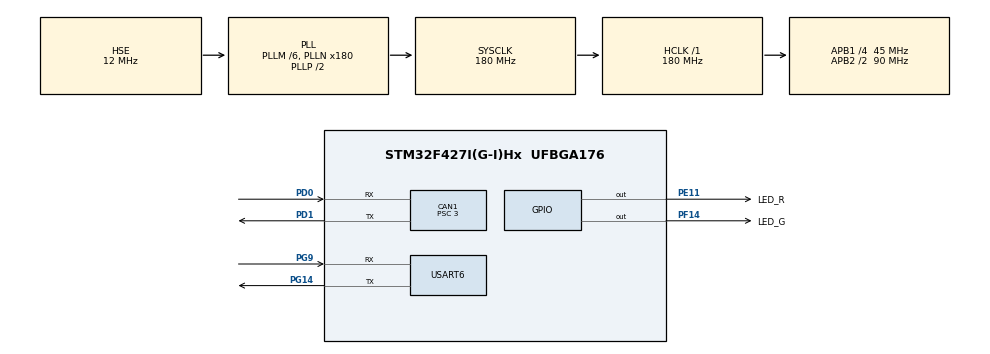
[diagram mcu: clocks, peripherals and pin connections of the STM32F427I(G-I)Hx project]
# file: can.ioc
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CAN1.ABOM=ENABLE
CAN1.BS1=CAN_BS1_12TQ
CAN1.BS2=CAN_BS2_2TQ
CAN1.CalculateBaudRate=1000000
CAN1.CalculateTimeBit=1000
CAN1.CalculateTimeQuantum=66.66666666666666
CAN1.Prescaler=3
Mcu.Family=STM32F4
Mcu.Name=STM32F427I(G-I)Hx
Mcu.Package=UFBGA176
NVIC.CAN1_RX0_IRQn=true\:0\:0\:false\:false\:true\:true\:true\:true
NVIC.CAN1_RX1_IRQn=true\:0\:0\:false\:false\:true\:true\:true\:true
NVIC.CAN1_SCE_IRQn=true\:0\:0\:false\:false\:true\:true\:true\:true
NVIC.CAN1_TX_IRQn=true\:0\:0\:false\:false\:true\:true\:true\:true
NVIC.PriorityGroup=NVIC_PRIORITYGROUP_4
NVIC.USART6_IRQn=true\:0\:0\:false\:false\:true\:true\:true\:true
PA13.Mode=Serial_Wire
PA13.Signal=SYS_JTMS-SWDIO
PA14.Mode=Serial_Wire
PA14.Signal=SYS_JTCK-SWCLK
PD0.Mode=CAN_Activate
PD0.Signal=CAN1_RX
PD1.Mode=CAN_Activate
PD1.Signal=CAN1_TX
PE11.GPIO_Label=LED_R
PE11.GPIO_ModeDefaultOutputPP=GPIO_MODE_OUTPUT_OD
PE11.GPIO_PuPd=GPIO_NOPULL
PE11.Signal=GPIO_Output
PF14.GPIO_Label=LED_G
PF14.GPIO_ModeDefaultOutputPP=GPIO_MODE_OUTPUT_OD
PF14.GPIO_PuPd=GPIO_NOPULL
PF14.Signal=GPIO_Output
PG14.Mode=Asynchronous
PG14.Signal=USART6_TX
PG9.Mode=Asynchronous
PG9.Signal=USART6_RX
PH0/OSC_IN.Mode=HSE-External-Oscillator
PH0/OSC_IN.Signal=RCC_OSC_IN
PH1/OSC_OUT.Mode=HSE-External-Oscillator
PH1/OSC_OUT.Signal=RCC_OSC_OUT
ProjectManager.HeapSize=0x200
ProjectManager.StackSize=0x400
ProjectManager.TargetToolchain=MDK-ARM V5.32
RCC.48MHZClocksFreq_Value=90000000
RCC.AHBFreq_Value=180000000
RCC.APB1CLKDivider=RCC_HCLK_DIV4
RCC.APB1Freq_Value=45000000
RCC.APB1TimFreq_Value=90000000
RCC.APB2CLKDivider=RCC_HCLK_DIV2
RCC.APB2Freq_Value=90000000
RCC.APB2TimFreq_Value=180000000
RCC.CortexFreq_Value=180000000
RCC.HCLKFreq_Value=180000000
RCC.HSE_VALUE=12000000
RCC.HSI_VALUE=16000000
RCC.LSE_VALUE=32768
RCC.PLLM=6
RCC.PLLN=180
RCC.PLLSourceVirtual=RCC_PLLSOURCE_HSE
RCC.SYSCLKFreq_VALUE=180000000
RCC.SYSCLKSource=RCC_SYSCLKSOURCE_PLLCLK
RCC.VCOOutputFreq_Value=360000000
USART6.VirtualMode=VM_ASYNC
board=custom

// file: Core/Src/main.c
/* USER CODE BEGIN Header */
/**
  ******************************************************************************
  * @file           : main.c
  * @brief          : Main program body
  ******************************************************************************
  * @attention
  *
  * Copyright (c) 2024 STMicroelectronics.
  * All rights reserved.
  *
  * This software is licensed under terms that can be found in the LICENSE file
  * in the root directory of this software component.
  * If no LICENSE file comes with this software, it is provided AS-IS.
  *
  ******************************************************************************
  */
/* USER CODE END Header */
#include "main.h"
#include "can.h"
#include "usart.h"
#include "gpio.h"

/* USER CODE BEGIN Includes */
#include <stdio.h>
/* USER CODE END Includes */

/* USER CODE BEGIN PTD */
typedef struct{
  float ratio_;
  float angle_;
  float delta_angle_;
  float ecd_angle_;
  float last_ecd_angle_;
  float delta_ecd_angle_;
  float rotate_speed_;
} M3508_Motor;

/* USER CODE END PTD */

/* USER CODE BEGIN PV */
M3508_Motor motor;
float ecd_angle_, rotate_speed_, current_, temp_;
/* USER CODE END PV */

void SystemClock_Config(void);

/* USER CODE BEGIN PFP */
void M3508_Motor_Init(M3508_Motor *motor);
float linearMapping(int in, int in_min, int in_max, float out_min, float out_max);
void canRxMsgCallback_v1(uint8_t rx_data[8]);
void sendMotorCommand(uint32_t motor_id, uint8_t *command_data);
/* USER CODE END PFP */

/* USER CODE BEGIN 0 */
void M3508_Motor_Init(M3508_Motor *motor) {
  motor->ratio_= 3591.0f / 187.0f;
  motor->angle_ = 0.0f;
  motor->delta_angle_ = 0.0f;
  motor->ecd_angle_ = 0.0f;
  motor->last_ecd_angle_ = 0.0f;
  motor->delta_ecd_angle_ = 0.0f;
  motor->rotate_speed_ = 0.0f;
}

float linearMapping(int in, int in_min, int in_max, float out_min, float out_max) {
  float k = (out_max - out_min) / (in_max - in_min);
  float out = k * (in - in_min) + out_min;
  return out;
}

void canRxMsgCallback_v1(uint8_t rx_data[8]) {
  int ecd_angle_raw = (rx_data[0] << 8 | rx_data[1]);
  ecd_angle_ = linearMapping(ecd_angle_raw, 0, 8191, 0.0, 360.0);

  int rotate_speed_raw = (rx_data[2] << 8 | rx_data[3]);
  rotate_speed_ = linearMapping(rotate_speed_raw, 0, 65535, 0.0, 400.0);

  int current_raw = (rx_data[4] << 8 | rx_data[5]);
  current_ = linearMapping(current_raw, -32768, 32767, -20.0, 20.0);

  temp_ = linearMapping(rx_data[6], 0, 255, 0.0, 125.0);
}

void sendCurrent(int16_t current) {
  CAN_TxHeaderTypeDef txHeader;
  uint8_t txData[8] = {0};
  uint32_t txMailbox;

  txData[2] = (current >> 8) & 0xFF;
  txData[3] = current & 0xFF;

  txHeader.StdId = 0x200;
  txHeader.ExtId = 0;
  txHeader.RTR = CAN_RTR_DATA;
  txHeader.IDE = CAN_ID_STD;
  txHeader.DLC = 8;

  if (HAL_CAN_AddTxMessage(&hcan1, &txHeader, txData, &txMailbox) != HAL_OK) {}
}

/* USER CODE END 0 */

int main(void)
{

  /* MCU Configuration--------------------------------------------------------*/

  /* Reset of all peripherals, Initializes the Flash interface and the Systick. */
  HAL_Init();

  /* Configure the system clock */
  SystemClock_Config();

  /* Initialize all configured peripherals */
  MX_GPIO_Init();
  MX_CAN1_Init();
  MX_USART6_UART_Init();
  /* USER CODE BEGIN 2 */

  CAN_FilterTypeDef FilterConfig;

  FilterConfig.FilterActivation = ENABLE;
  FilterConfig.FilterIdHigh = 0x0000;
  FilterConfig.FilterIdLow = 0x0000;
  FilterConfig.FilterMaskIdHigh = 0x0000;
  FilterConfig.FilterMaskIdLow = 0x0000;
  FilterConfig.FilterMode = CAN_FILTERMODE_IDMASK;
  FilterConfig.FilterScale = CAN_FILTERSCALE_32BIT;
  FilterConfig.FilterFIFOAssignment = CAN_FILTER_FIFO0;
  FilterConfig.FilterBank = 0;

  HAL_CAN_ConfigFilter(&hcan1, &FilterConfig);

  HAL_CAN_Start(&hcan1);
  HAL_CAN_ActivateNotification(&hcan1, CAN_IT_RX_FIFO0_MSG_PENDING);

  /* USER CODE END 2 */

  /* Infinite loop */
  /* USER CODE BEGIN WHILE */
  while (1)
  {
    sendCurrent(0x0070);
    HAL_Delay(1000);
    /* USER CODE END WHILE */

  }
}

void SystemClock_Config(void)
{
  RCC_OscInitTypeDef RCC_OscInitStruct = {0};
  RCC_ClkInitTypeDef RCC_ClkInitStruct = {0};

  /** Configure the main internal regulator output voltage
  */
  __HAL_RCC_PWR_CLK_ENABLE();
  __HAL_PWR_VOLTAGESCALING_CONFIG(PWR_REGULATOR_VOLTAGE_SCALE1);

  /** Initializes the RCC Oscillators according to the specified parameters
  * in the RCC_OscInitTypeDef structure.
  */
  RCC_OscInitStruct.OscillatorType = RCC_OSCILLATORTYPE_HSE;
  RCC_OscInitStruct.HSEState = RCC_HSE_ON;
  RCC_OscInitStruct.PLL.PLLState = RCC_PLL_ON;
  RCC_OscInitStruct.PLL.PLLSource = RCC_PLLSOURCE_HSE;
  RCC_OscInitStruct.PLL.PLLM = 6;
  RCC_OscInitStruct.PLL.PLLN = 180;
  RCC_OscInitStruct.PLL.PLLP = RCC_PLLP_DIV2;
  RCC_OscInitStruct.PLL.PLLQ = 4;
  if (HAL_RCC_OscConfig(&RCC_OscInitStruct) != HAL_OK)
  {
    Error_Handler();
  }

  /** Activate the Over-Drive mode
  */
  if (HAL_PWREx_EnableOverDrive() != HAL_OK)
  {
    Error_Handler();
  }

  /** Initializes the CPU, AHB and APB buses clocks
  */
  RCC_ClkInitStruct.ClockType = RCC_CLOCKTYPE_HCLK|RCC_CLOCKTYPE_SYSCLK
                              |RCC_CLOCKTYPE_PCLK1|RCC_CLOCKTYPE_PCLK2;
  RCC_ClkInitStruct.SYSCLKSource = RCC_SYSCLKSOURCE_PLLCLK;
  RCC_ClkInitStruct.AHBCLKDivider = RCC_SYSCLK_DIV1;
  RCC_ClkInitStruct.APB1CLKDivider = RCC_HCLK_DIV4;
  RCC_ClkInitStruct.APB2CLKDivider = RCC_HCLK_DIV2;

  if (HAL_RCC_ClockConfig(&RCC_ClkInitStruct, FLASH_LATENCY_5) != HAL_OK)
  {
    Error_Handler();
  }
}

/* USER CODE BEGIN 4 */
  CAN_RxHeaderTypeDef rxHeader;
  uint8_t rxData[8];

void HAL_CAN_RxFifo0MsgPendingCallback(CAN_HandleTypeDef *hcan) {
  if (HAL_CAN_GetRxMessage(hcan, CAN_RX_FIFO0, &rxHeader, rxData) == HAL_OK) {
    printf("Received CAN ID: 0x%X\n", rxHeader.StdId);
    printf("Data: ");
    for (int i = 0; i < rxHeader.DLC; i++) {
      printf("%02X ", rxData[i]);
    }
    printf("\n");

    canRxMsgCallback_v1(rxData);
  }
}
/* USER CODE END 4 */

void Error_Handler(void)
{
  __disable_irq();
  while (1)
  {
  }
}
